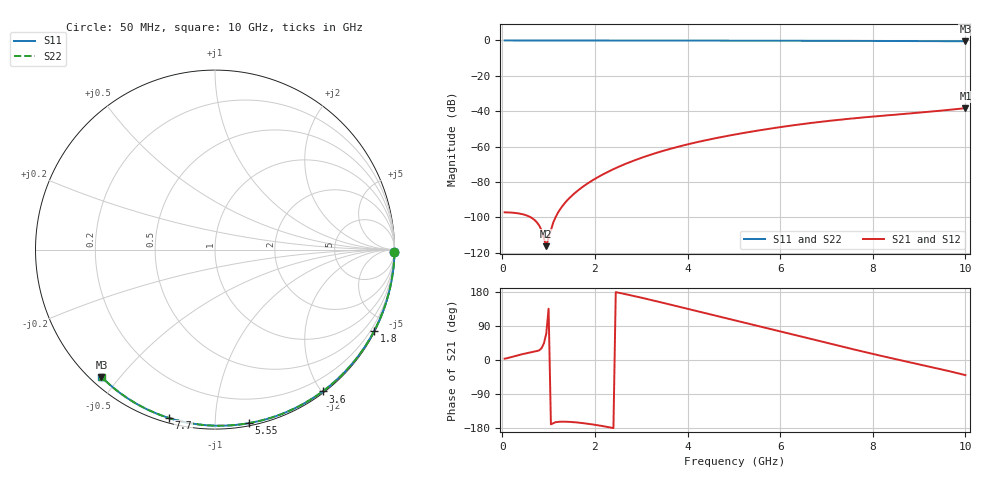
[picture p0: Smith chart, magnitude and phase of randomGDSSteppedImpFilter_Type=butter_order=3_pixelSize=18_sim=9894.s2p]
! freq	dB(S11)	phase(S11)	dB(S12)	phase(S12)
!  dB(S21)	phase(S21)	dB(S22)	phase(S22)
!S-par simulation data
#  GHz  S  DB  R 50
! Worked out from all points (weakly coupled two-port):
!   200 points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, 50 MHz to 10 GHz, reference 50 ohm
!   highest |S21| = -38.29 dB at 10 GHz (marker M1); lowest = -116.3 dB at 950 MHz (marker M2)
!   lowest |S11| = -0.4 dB at 10 GHz (marker M3), VSWR 39.24, Z = 1.53 - j22.4 ohm
!   |S11| at or under -10 dB: nowhere
!   |S22| runs from -0.4 to 0.0 dB; largest |S21 - S12| = 0
!   S11 on the Smith chart (normalised r, x): 50 MHz: open; 1.8 GHz: 0.04, -4.16; 3.6 GHz: 0.02, -2.01; 5.55 GHz: 0.02, -1.22; 7.7 GHz: 0.02, -0.76; 10 GHz: 0.03, -0.45
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0.05  -0.00 -0.8  -97.21 3.4  -97.21 3.4  -0.00 -0.8
0.5  -0.01 -7.6  -98.73 17.3  -98.73 17.3  -0.01 -7.6
0.95  -0.02 -14.4  -116.35 70.2  -116.35 70.2  -0.02 -14.4
1.75  -0.03 -26.3  -82.53 -166.7  -82.53 -166.7  -0.03 -26.2
1.8  -0.03 -27.0  -81.61 -167.5  -81.61 -167.5  -0.03 -27.0
1.9  -0.04 -28.5  -79.89 -169.1  -79.89 -169.1  -0.04 -28.4
2.05  -0.04 -30.7  -77.52 -172.0  -77.52 -172.0  -0.04 -30.6
2.25  -0.04 -33.6  -74.71 -176.2  -74.71 -176.2  -0.04 -33.5
2.45  -0.05 -36.5  -72.19 179.1  -72.19 179.1  -0.05 -36.4
2.65  -0.05 -39.4  -69.92 174.0  -69.92 174.0  -0.05 -39.3
3  -0.06 -44.4  -66.42 164.5  -66.42 164.5  -0.06 -44.3
3.4  -0.07 -50.0  -63.00 152.9  -63.00 152.9  -0.07 -50.0
3.6  -0.07 -52.8  -61.49 147.0  -61.49 147.0  -0.07 -52.7
4.25  -0.09 -61.7  -57.26 127.6  -57.26 127.6  -0.09 -61.7
5.05  -0.11 -72.4  -53.07 103.8  -53.07 103.8  -0.11 -72.3
5.55  -0.13 -78.9  -50.83 89.1  -50.83 89.1  -0.13 -78.8
6.1  -0.15 -85.9  -48.64 72.7  -48.64 72.7  -0.15 -85.7
6.7  -0.18 -93.3  -46.56 54.6  -46.56 54.6  -0.18 -93.2
7.7  -0.24 -105.3  -43.77 24.7  -43.77 24.7  -0.24 -105.2
8.35  -0.29 -112.9  -42.27 6.2  -42.27 6.2  -0.29 -112.8
9.15  -0.36 -122.1  -40.48 -15.6  -40.48 -15.6  -0.36 -121.9
10  -0.44 -131.7  -38.29 -39.9  -38.29 -39.9  -0.44 -131.6
